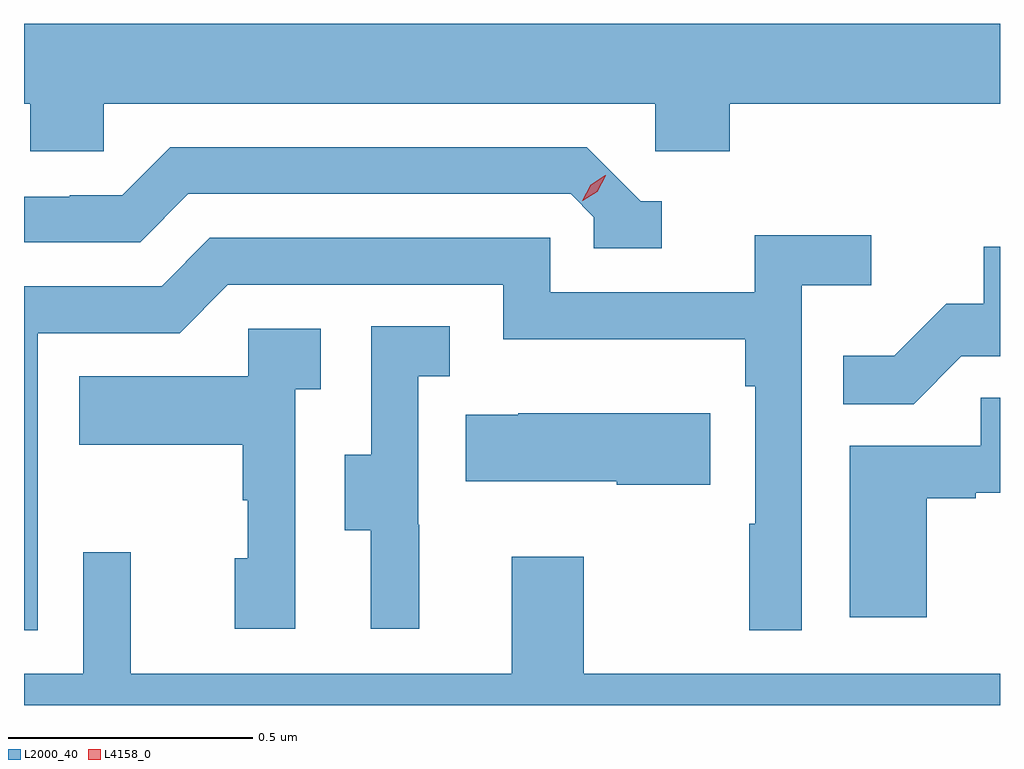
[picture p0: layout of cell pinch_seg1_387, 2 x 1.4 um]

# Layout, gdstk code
import gdstk
lib = gdstk.Library(unit=1e-6, precision=1e-09)
def P(c, l, *ps):  # polygons
    for p in ps: c.add(gdstk.Polygon(p, *l))
L2000_40 = (2000, 40)
L4158_0 = (4158, 0)

pinch_seg1_387 = lib.new_cell('pinch_seg1_387')
P(pinch_seg1_387, L2000_40, [(980.553,533.084),(981.684,533.084),(981.684,532.986),(981.836,532.986),(981.836,533.084),(982.39,533.084),(982.39,533.248),(980.39,533.248),(980.39,533.084),(980.403,533.084),(980.403,532.986),(980.553,532.986)],
  [(981.697,532.884),(981.654,532.884),(981.543,532.995),(980.69,532.995),(980.591,532.896),(980.484,532.896),(980.484,532.893),(980.39,532.893),(980.39,532.8),(980.628,532.8),(980.727,532.899),(981.51,532.899),(981.558,532.851),(981.558,532.788),(981.697,532.788)],
  [(980.418,532.614),(980.709,532.614),(980.808,532.713),(981.372,532.713),(981.372,532.601),(981.868,532.601),(981.868,532.505),(981.888,532.505),(981.888,532.223),(981.876,532.223),(981.876,532.005),(981.984,532.005),(981.984,532.712),(982.126,532.712),(982.126,532.814),(981.887,532.814),(981.887,532.698),(981.468,532.698),(981.468,532.809),(980.771,532.809),(980.672,532.71),(980.39,532.71),(980.39,532.005),(980.418,532.005)],
  [(982.311,532.566),(982.39,532.566),(982.39,532.791),(982.357,532.791),(982.357,532.674),(982.28,532.674),(982.173,532.567),(982.069,532.567),(982.069,532.468),(982.213,532.468)],
  [(981.2,532.221),(981.198,532.221),(981.198,532.525),(981.262,532.525),(981.262,532.628),(981.102,532.628),(981.102,532.365),(981.047,532.365),(981.047,532.21),(981.101,532.21),(981.101,532.008),(981.2,532.008)],
  [(980.946,532.499),(980.998,532.499),(980.998,532.623),(980.85,532.623),(980.85,532.525),(980.503,532.525),(980.503,532.385),(980.838,532.385),(980.838,532.271),(980.848,532.271),(980.848,532.152),(980.822,532.152),(980.822,532.008),(980.946,532.008)],
  [(982.24,532.275),(982.34,532.275),(982.34,532.287),(982.39,532.287),(982.39,532.481),(982.351,532.481),(982.351,532.383),(982.082,532.383),(982.082,532.032),(982.24,532.032)],
  [(981.796,532.45),(981.403,532.45),(981.403,532.447),(981.295,532.447),(981.295,532.31),(981.605,532.31),(981.605,532.303),(981.796,532.303)],
  [(982.39,531.916),(981.537,531.916),(981.537,532.156),(981.389,532.156),(981.389,531.916),(980.609,531.916),(980.609,532.165),(980.511,532.165),(980.511,531.916),(980.39,531.916),(980.39,531.851),(982.39,531.851)])
P(pinch_seg1_387, L4158_0, [(981.534,532.885),(981.534,532.885),(981.551,532.918),(981.581,532.937),(981.582,532.937),(981.582,532.936),(981.565,532.904),(981.535,532.885)])

lib.write_gds('pinch_seg1_387.gds')
